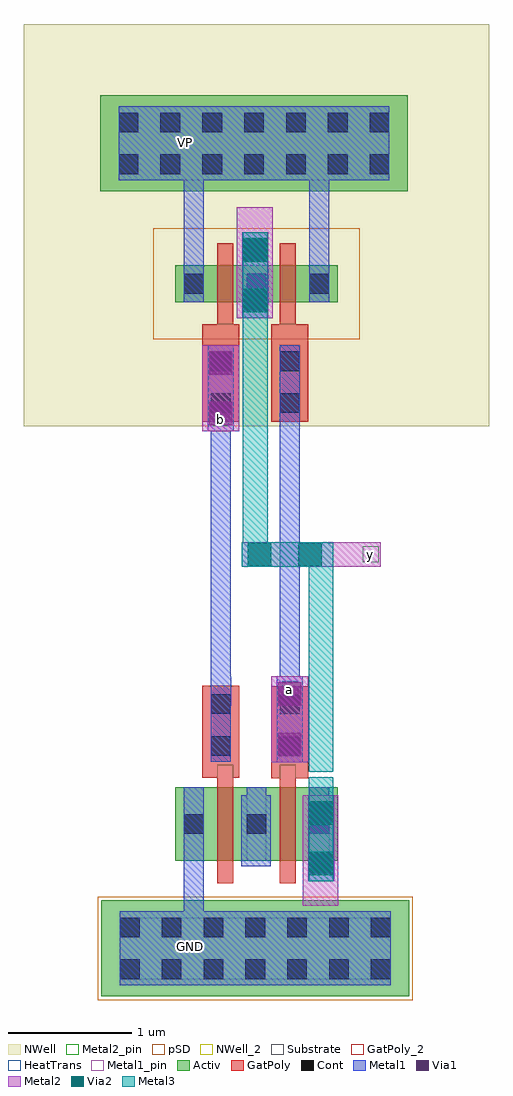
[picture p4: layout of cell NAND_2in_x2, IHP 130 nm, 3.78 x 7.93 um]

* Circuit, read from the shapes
.subckt NAND_2in_x2 GND VP a b y
XM1 n1 b GND GND sg13_lv_nmos w=0.6u l=0.13u
XM2 n2 a n1 GND sg13_lv_nmos w=0.6u l=0.13u
XM3 y b VP VP sg13_lv_pmos w=0.3u l=0.13u
XM4 VP a y VP sg13_lv_pmos w=0.3u l=0.13u
.ends

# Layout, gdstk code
from math import pi, radians
import gdstk
lib = gdstk.Library(unit=1e-6, precision=1e-09)
def R(c, l, rs):  # rectangles x0, y0, x1, y1
    for r in rs: c.add(gdstk.rectangle(r[:2], r[2:], *l))
def A(c, l, x, y, w, h, nx, ny, dx, dy):  # array of equal rectangles
    R(c, l, [(x+i*dx, y+j*dy, x+i*dx+w, y+j*dy+h) for i in range(nx) for j in range(ny)])
Activ = (1, 0)
GatPoly = (5, 0)
GatPoly_2 = (5, 2)
Cont = (6, 0)
Metal1 = (8, 0)
Metal1_pin = (8, 2)
Metal2 = (10, 0)
Metal2_pin = (10, 2)
pSD = (14, 0)
Via1 = (19, 0)
Via2 = (29, 0)
Metal3 = (30, 0)
NWell = (31, 0)
NWell_2 = (31, 2)
Substrate = (40, 0)
HeatTrans = (51, 0)

ntap1_5 = lib.new_cell('ntap1$5')
R(ntap1_5, Activ, [(0,0,2.5,0.78)])
A(ntap1_5, Cont, 0.15, 0.14, 0.16, 0.16, 7, 2, 0.34, 0.34)
R(ntap1_5, Metal1, [(0.15,0.09,2.35,0.69)])
R(ntap1_5, Metal1_pin, [(0.15,0.09,2.35,0.69), (0.15,0.14,2.35,0.64)])
R(ntap1_5, NWell, [(-0.24,-0.24,2.74,1.02), (0,0,2.5,0.78)])
R(ntap1_5, NWell_2, [(0,0,2.5,0.78)])
ntap1_5.add(gdstk.Label('well', (1.25,0.01), layer=63, texttype=0))
ntap1_5.add(gdstk.Label('well', (1.25,0.01), layer=31, texttype=0))

ptap1_4 = lib.new_cell('ptap1$4')
R(ptap1_4, Activ, [(0,0,2.5,0.78)])
A(ptap1_4, Cont, 0.15, 0.14, 0.16, 0.16, 7, 2, 0.34, 0.34)
R(ptap1_4, Metal1, [(0.15,0.09,2.35,0.69), (0.15,0.14,2.35,0.64)])
R(ptap1_4, Metal1_pin, [(0.15,0.14,2.35,0.64)])
R(ptap1_4, pSD, [(-0.03,-0.03,2.53,0.81)])
R(ptap1_4, Substrate, [(0,0,2.5,0.78)])
ptap1_4.add(gdstk.Label('sub!', (1.25,0.01), layer=63, texttype=0))
ptap1_4.add(gdstk.Label('sub!', (1.25,0.01), layer=40, texttype=0))

via_5_4 = lib.new_cell('Via$5$4')
R(via_5_4, Metal2, [(-0.1,-0.35,0.1,0.35)])
R(via_5_4, Via2, [(-0.095,-0.3,0.095,-0.11), (-0.095,0.11,0.095,0.3)])
R(via_5_4, Metal3, [(-0.1,-0.35,0.1,0.35)])

via_4_1 = lib.new_cell('Via$4$1')
R(via_4_1, Metal1, [(-0.105,-0.35,0.105,0.35)])
R(via_4_1, Metal2, [(-0.1,-0.35,0.1,0.35)])
R(via_4_1, Via1, [(-0.095,-0.3,0.095,-0.11), (-0.095,0.11,0.095,0.3)])

via_6_2 = lib.new_cell('Via$6$2')
R(via_6_2, GatPoly, [(-0.32,-0.15,0.32,0.15)])
R(via_6_2, Cont, [(-0.25,-0.08,-0.09,0.08), (0.09,-0.08,0.25,0.08)])
R(via_6_2, Metal1, [(-0.3,-0.08,0.3,0.08)])

pmos_7 = lib.new_cell('pmos$7')
R(pmos_7, Activ, [(0,0,0.3,0.3), (0,0,0.81,0.3), (0.51,0,0.81,0.3)])
R(pmos_7, GatPoly, [(0.34,-0.18,0.47,0.48), (0.34,-0.18,0.47,0.48)])
R(pmos_7, Cont, [(0.07,0.07,0.23,0.23), (0.58,0.07,0.74,0.23)])
R(pmos_7, Metal1, [(0.07,0,0.23,0.3), (0.07,0,0.23,0.3), (0.58,0,0.74,0.3), (0.58,0,0.74,0.3)])
R(pmos_7, pSD, [(-0.18,-0.3,0.99,0.6)])
R(pmos_7, NWell, [(-0.31,-0.31,1.12,0.61)])
R(pmos_7, HeatTrans, [(0.34,-0.18,0.47,0.48)])
pmos_7.add(gdstk.Label('pmos', (0.405,0.15), layer=63, texttype=0))
pmos_7.add(gdstk.Label('pmos', (0.405,0.15), layer=51, texttype=0))

nmos_8 = lib.new_cell('nmos$8')
R(nmos_8, Activ, [(0,0,0.3,0.3), (0,0,0.81,0.6), (0.51,0,0.81,0.3)])
R(nmos_8, GatPoly, [(0.34,-0.18,0.47,0.78)])
R(nmos_8, GatPoly_2, [(0.34,-0.18,0.47,0.78)])
R(nmos_8, Cont, [(0.07,0.22,0.23,0.38), (0.58,0.22,0.74,0.38)])
R(nmos_8, Metal1, [(0.07,0,0.23,0.6), (0.58,0,0.74,0.6)])
R(nmos_8, Metal1_pin, [(0.07,0,0.23,0.6), (0.58,0,0.74,0.6)])
R(nmos_8, HeatTrans, [(0.34,-0.18,0.47,0.78)])
nmos_8.add(gdstk.Label('nmos', (0.405,0.3), layer=63, texttype=0))
nmos_8.add(gdstk.Label('nmos', (0.405,0.3), layer=51, texttype=0))

nand_2in_x2 = lib.new_cell('NAND_2in_x2')
R(nand_2in_x2, GatPoly, [(1.16,-2.96,1.46,-2.85), (0.6,-2.955,0.9,-2.845), (0.6,0.58,0.9,0.73), (1.16,0.58,1.46,0.73)])
R(nand_2in_x2, Metal1, [(0.45,-4.15,0.61,-3.37), (0.915,-3.675,1.155,-3.415), (0.915,-3.435,1.155,-3.095), (0.67,-2.365,0.835,-2.135), (0.67,-2.21,0.83,-1.27), (1.23,-2.21,1.39,-1.27), (0.67,-1.31,0.83,-0.37), (1.23,-1.31,1.39,-0.37), (0.67,-0.37,0.83,-0.12), (1.23,-0.37,1.39,-0.01), (1.47,1,1.63,1.2), (0.45,1.01,0.61,1.15), (0.45,1.115,0.61,1.99), (1.47,1.115,1.63,1.94)])
R(nand_2in_x2, Metal1_pin, [(0.44,-4.395,0.57,-4.265), (0.4,2.15,0.53,2.28)])
R(nand_2in_x2, Metal2, [(1.415,-3.995,1.705,-3.795), (1.415,-3.795,1.705,-3.095), (1.16,-2.83,1.46,-2.13), (1.62,-1.24,2.05,-1.04), (0.6,-0.14,0.9,0.56), (0.88,0.78,1.17,0.98), (0.88,0.98,1.17,1.68)])
R(nand_2in_x2, Metal2_pin, [(1.25,-2.3,1.38,-2.17), (1.905,-1.205,2.035,-1.075), (0.69,-0.1,0.82,0.03)])
R(nand_2in_x2, Metal3, [(1.465,-3.15,1.665,-2.95), (1.465,-2.905,1.665,-1.045), (0.93,-1.09,1.13,0.17), (0.93,0.1,1.13,0.62), (0.93,0.62,1.13,0.72), (0.93,0.71,1.13,0.87)])
R(nand_2in_x2, NWell, [(-0.85,-0.1,2.93,3.17)])
nand_2in_x2.add(gdstk.Reference(ntap1_5, (-0.23,1.81)))
nand_2in_x2.add(gdstk.Reference(ptap1_4, (-0.22,-4.73)))
nand_2in_x2.add(gdstk.Reference(via_5_4, (1.27,-1.14), rotation=3*pi/2))
nand_2in_x2.add(gdstk.Reference(via_4_1, (1.565,-3.445), rotation=pi))
nand_2in_x2.add(gdstk.Reference(via_4_1, (1.31,-2.48), rotation=pi))
nand_2in_x2.add(gdstk.Reference(via_4_1, (0.75,0.21), rotation=pi))
nand_2in_x2.add(gdstk.Reference(via_4_1, (1.03,1.13), rotation=pi))
nand_2in_x2.add(gdstk.Reference(via_6_2, (0.75,-2.525), rotation=3*pi/2))
nand_2in_x2.add(gdstk.Reference(via_6_2, (1.31,-2.53), rotation=3*pi/2))
nand_2in_x2.add(gdstk.Reference(via_6_2, (0.75,0.26), rotation=3*pi/2))
nand_2in_x2.add(gdstk.Reference(via_6_2, (1.31,0.26), rotation=3*pi/2))
nand_2in_x2.add(gdstk.Reference(via_5_4, (1.565,-3.445), rotation=pi))
nand_2in_x2.add(gdstk.Reference(via_5_4, (1.03,1.13), rotation=pi))
nand_2in_x2.add(gdstk.Reference(pmos_7, (0.89,0.91)))
nand_2in_x2.add(gdstk.Reference(pmos_7, (0.38,0.91)))
nand_2in_x2.add(gdstk.Reference(nmos_8, (0.89,-3.63)))
nand_2in_x2.add(gdstk.Reference(nmos_8, (0.38,-3.63)))
nand_2in_x2.add(gdstk.Label('a', (1.31,-2.24), layer=10, texttype=25))
nand_2in_x2.add(gdstk.Label('y', (1.97,-1.14), layer=10, texttype=25))
nand_2in_x2.add(gdstk.Label('b', (0.75,-0.04), layer=10, texttype=25))
nand_2in_x2.add(gdstk.Label('VP', (0.46,2.21), layer=8, texttype=25))
nand_2in_x2.add(gdstk.Label('GND', (0.505,-4.325), layer=8, texttype=25))

lib.write_gds('NAND_2in_x2.gds')
